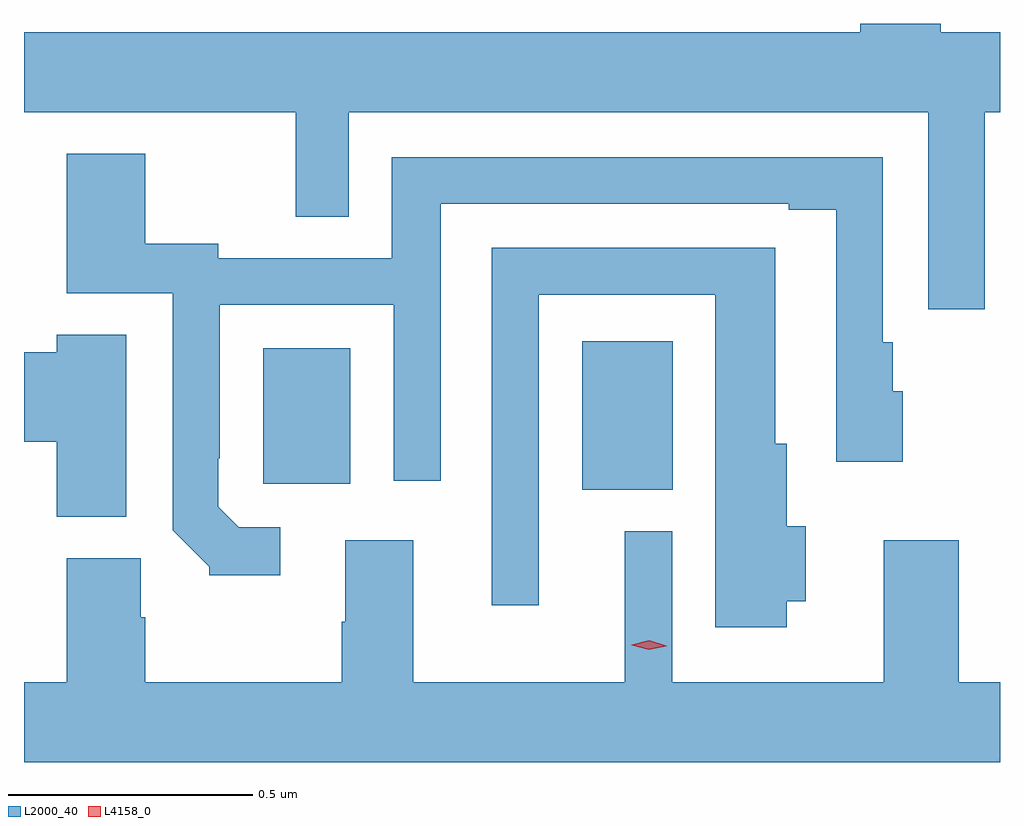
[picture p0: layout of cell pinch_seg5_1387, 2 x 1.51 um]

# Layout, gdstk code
import gdstk
lib = gdstk.Library(unit=1e-6, precision=1e-09)
def R(c, l, rs):  # rectangles x0, y0, x1, y1
    for r in rs: c.add(gdstk.rectangle(r[:2], r[2:], *l))
def P(c, l, *ps):  # polygons
    for p in ps: c.add(gdstk.Polygon(p, *l))
L2000_40 = (2000, 40)
L4158_0 = (4158, 0)

pinch_seg5_1387 = lib.new_cell('pinch_seg5_1387')
R(pinch_seg5_1387, L2000_40, [(304.505,889.286,304.69,889.591), (303.851,889.299,304.03,889.576)])
P(pinch_seg5_1387, L2000_40, [(305.33,890.06),(305.361,890.06),(305.361,890.224),(305.24,890.224),(305.24,890.241),(305.075,890.241),(305.075,890.224),(303.361,890.224),(303.361,890.06),(303.918,890.06),(303.918,889.846),(304.026,889.846),(304.026,890.06),(305.214,890.06),(305.214,889.656),(305.33,889.656)],
  [(303.886,889.209),(303.801,889.209),(303.759,889.251),(303.759,889.351),(303.762,889.351),(303.762,889.665),(304.119,889.665),(304.119,889.305),(304.215,889.305),(304.215,889.872),(304.928,889.872),(304.928,889.86),(305.025,889.86),(305.025,889.344),(305.162,889.344),(305.162,889.488),(305.141,889.488),(305.141,889.588),(305.121,889.588),(305.121,889.968),(304.115,889.968),(304.115,889.761),(303.759,889.761),(303.759,889.79),(303.609,889.79),(303.609,889.975),(303.449,889.975),(303.449,889.689),(303.666,889.689),(303.666,889.203),(303.741,889.128),(303.741,889.111),(303.886,889.111)],
  [(304.924,889.058),(304.963,889.058),(304.963,889.211),(304.924,889.211),(304.924,889.38),(304.9,889.38),(304.9,889.782),(304.32,889.782),(304.32,889.05),(304.416,889.05),(304.416,889.686),(304.778,889.686),(304.778,889.004),(304.924,889.004)],
  [(303.571,889.604),(303.428,889.604),(303.428,889.568),(303.361,889.568),(303.361,889.385),(303.428,889.385),(303.428,889.231),(303.571,889.231)],
  [(305.361,888.892),(305.276,888.892),(305.276,889.183),(305.123,889.183),(305.123,888.892),(304.689,888.892),(304.689,889.201),(304.592,889.201),(304.592,888.892),(304.159,888.892),(304.159,889.183),(304.019,889.183),(304.019,889.016),(304.012,889.016),(304.012,888.892),(303.609,888.892),(303.609,889.025),(303.6,889.025),(303.6,889.146),(303.449,889.146),(303.449,888.892),(303.361,888.892),(303.361,888.728),(305.361,888.728)])
P(pinch_seg5_1387, L4158_0, [(304.641,888.958),(304.606,888.968),(304.606,888.969),(304.606,888.969),(304.642,888.978),(304.677,888.967),(304.677,888.967),(304.677,888.966)])

lib.write_gds('pinch_seg5_1387.gds')
